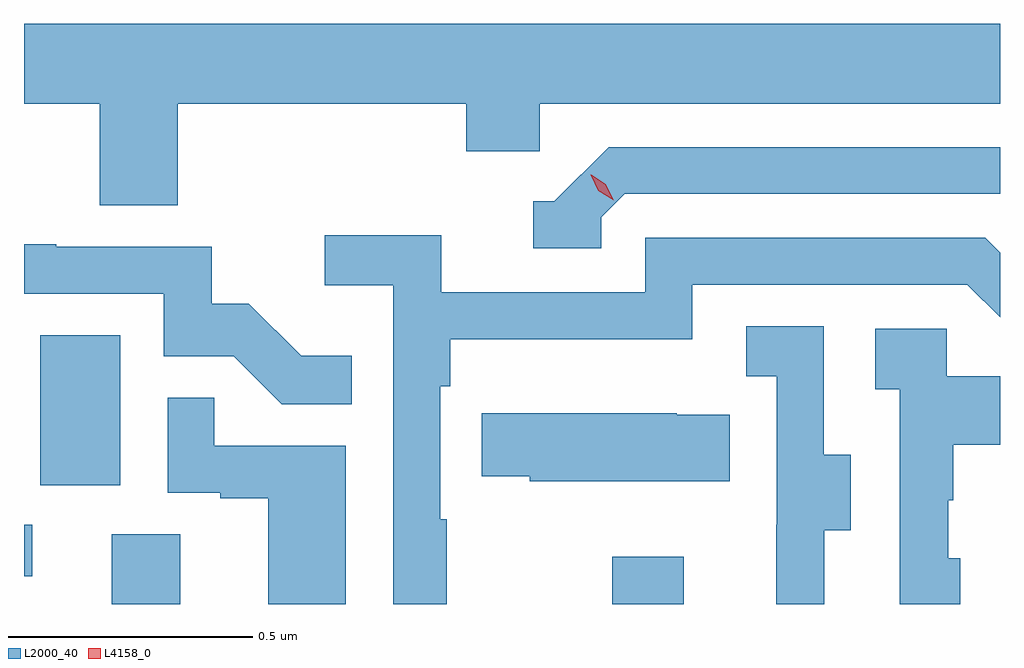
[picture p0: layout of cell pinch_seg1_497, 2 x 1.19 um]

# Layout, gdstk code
import gdstk
lib = gdstk.Library(unit=1e-6, precision=1e-09)
def R(c, l, rs):  # rectangles x0, y0, x1, y1
    for r in rs: c.add(gdstk.rectangle(r[:2], r[2:], *l))
def P(c, l, *ps):  # polygons
    for p in ps: c.add(gdstk.Polygon(p, *l))
L2000_40 = (2000, 40)
L4158_0 = (4158, 0)

pinch_seg1_497 = lib.new_cell('pinch_seg1_497')
R(pinch_seg1_497, L2000_40, [(1088.765,529.394,1088.905,529.538), (1089.79,529.394,1089.937,529.492), (1088.585,529.452,1088.602,529.557), (1088.618,529.638,1088.782,529.945)])
P(pinch_seg1_497, L2000_40, [(1088.9,530.42),(1089.491,530.42),(1089.491,530.322),(1089.642,530.322),(1089.642,530.42),(1090.585,530.42),(1090.585,530.584),(1088.585,530.584),(1088.585,530.42),(1088.74,530.42),(1088.74,530.212),(1088.9,530.212)],
  [(1089.768,530.187),(1089.816,530.235),(1090.585,530.235),(1090.585,530.331),(1089.783,530.331),(1089.672,530.22),(1089.629,530.22),(1089.629,530.124),(1089.768,530.124)],
  [(1089.451,529.568),(1089.438,529.568),(1089.438,529.841),(1089.458,529.841),(1089.458,529.937),(1089.954,529.937),(1089.954,530.049),(1090.518,530.049),(1090.585,529.982),(1090.585,530.115),(1090.555,530.145),(1089.858,530.145),(1089.858,530.034),(1089.44,530.034),(1089.44,530.15),(1089.201,530.15),(1089.201,530.048),(1089.342,530.048),(1089.342,529.394),(1089.451,529.394)],
  [(1089.257,529.903),(1089.153,529.903),(1089.046,530.01),(1088.97,530.01),(1088.97,530.127),(1088.651,530.127),(1088.651,530.132),(1088.585,530.132),(1088.585,530.031),(1088.871,530.031),(1088.871,529.902),(1089.015,529.902),(1089.113,529.804),(1089.257,529.804)],
  [(1090.225,529.546),(1090.279,529.546),(1090.279,529.701),(1090.224,529.701),(1090.224,529.964),(1090.065,529.964),(1090.065,529.861),(1090.128,529.861),(1090.128,529.557),(1090.127,529.557),(1090.127,529.394),(1090.225,529.394)],
  [(1090.504,529.488),(1090.479,529.488),(1090.479,529.607),(1090.489,529.607),(1090.489,529.721),(1090.585,529.721),(1090.585,529.861),(1090.476,529.861),(1090.476,529.959),(1090.329,529.959),(1090.329,529.835),(1090.38,529.835),(1090.38,529.394),(1090.504,529.394)],
  [(1089.244,529.719),(1088.975,529.719),(1088.975,529.817),(1088.88,529.817),(1088.88,529.623),(1088.987,529.623),(1088.987,529.611),(1089.086,529.611),(1089.086,529.394),(1089.244,529.394)],
  [(1090.031,529.783),(1089.923,529.783),(1089.923,529.786),(1089.523,529.786),(1089.523,529.657),(1089.621,529.657),(1089.621,529.646),(1090.031,529.646)])
P(pinch_seg1_497, L4158_0, [(1089.793,530.222),(1089.762,530.242),(1089.746,530.274),(1089.746,530.274),(1089.747,530.274),(1089.777,530.255),(1089.793,530.222),(1089.793,530.222)])

lib.write_gds('pinch_seg1_497.gds')
